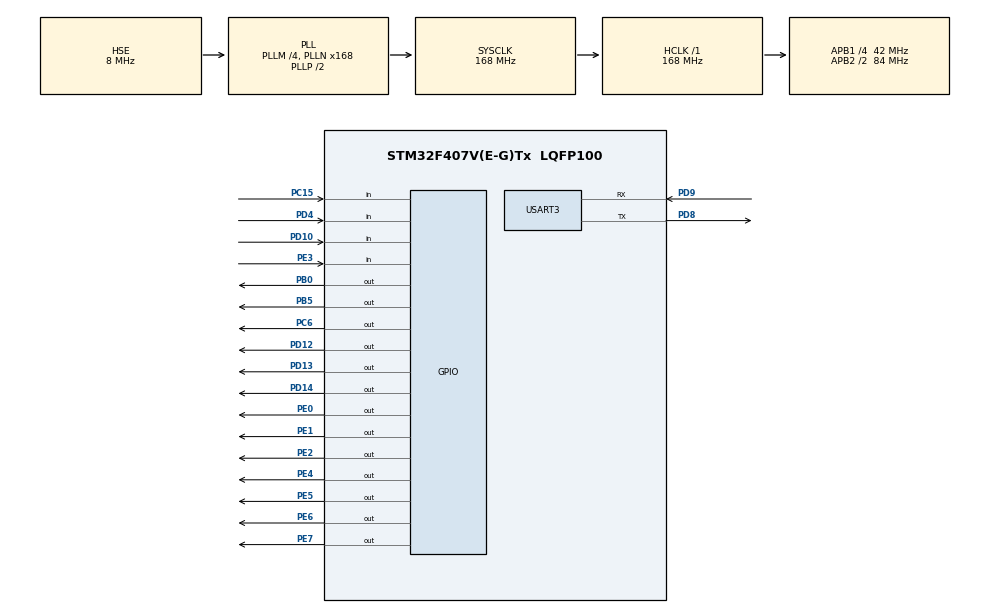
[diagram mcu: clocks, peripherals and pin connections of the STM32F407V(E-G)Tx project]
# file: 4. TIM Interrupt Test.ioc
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Mcu.Family=STM32F4
Mcu.Name=STM32F407V(E-G)Tx
Mcu.Package=LQFP100
NVIC.PriorityGroup=NVIC_PRIORITYGROUP_4
NVIC.TIM7_IRQn=true\:0\:0\:false\:true\:true\:2\:true
NVIC.USART3_IRQn=true\:0\:0\:false\:true\:true\:1\:true
PB0.Signal=GPIO_Output
PB5.Signal=GPIO_Output
PC15-OSC32_OUT.Signal=GPIO_Input
PC6.Signal=GPIO_Output
PD10.Signal=GPIO_Input
PD12.Signal=GPIO_Output
PD13.Signal=GPIO_Output
PD14.Signal=GPIO_Output
PD4.Signal=GPIO_Input
PD8.Mode=Asynchronous
PD8.Signal=USART3_TX
PD9.Mode=Asynchronous
PD9.Signal=USART3_RX
PE0.Signal=GPIO_Output
PE1.Signal=GPIO_Output
PE2.Signal=GPIO_Output
PE3.Signal=GPIO_Input
PE4.Signal=GPIO_Output
PE5.Signal=GPIO_Output
PE6.Signal=GPIO_Output
PE7.Signal=GPIO_Output
PH0-OSC_IN.Mode=HSE-External-Oscillator
PH0-OSC_IN.Signal=RCC_OSC_IN
PH1-OSC_OUT.Mode=HSE-External-Oscillator
PH1-OSC_OUT.Signal=RCC_OSC_OUT
ProjectManager.HeapSize=0x200
ProjectManager.StackSize=0x400
ProjectManager.TargetToolchain=TrueSTUDIO
RCC.48MHZClocksFreq_Value=84000000
RCC.AHBFreq_Value=168000000
RCC.APB1CLKDivider=RCC_HCLK_DIV4
RCC.APB1Freq_Value=42000000
RCC.APB1TimFreq_Value=84000000
RCC.APB2CLKDivider=RCC_HCLK_DIV2
RCC.APB2Freq_Value=84000000
RCC.APB2TimFreq_Value=168000000
RCC.CortexFreq_Value=168000000
RCC.HCLKFreq_Value=168000000
RCC.HSE_VALUE=8000000
RCC.HSI_VALUE=16000000
RCC.LSE_VALUE=32768
RCC.PLLM=4
RCC.PLLN=168
RCC.PLLSourceVirtual=RCC_PLLSOURCE_HSE
RCC.SYSCLKFreq_VALUE=168000000
RCC.SYSCLKSource=RCC_SYSCLKSOURCE_PLLCLK
RCC.VCOOutputFreq_Value=336000000
TIM7.Period=8399
TIM7.Prescaler=9999
USART3.VirtualMode=VM_ASYNC
VP_TIM7_VS_ClockSourceINT.Mode=Enable_Timer
board=custom

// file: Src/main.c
/**
  ******************************************************************************
  * @file           : main.c
  * @brief          : Main program body
  ******************************************************************************
  ** This notice applies to any and all portions of this file
  * that are not between comment pairs USER CODE BEGIN and
  * USER CODE END. Other portions of this file, whether
  * inserted by the user or by software development tools
  * are owned by their respective copyright owners.
  *
  * COPYRIGHT(c) 2018 STMicroelectronics
  *
  * Redistribution and use in source and binary forms, with or without modification,
  * are permitted provided that the following conditions are met:
  *   1. Redistributions of source code must retain the above copyright notice,
  *      this list of conditions and the following disclaimer.
  *   2. Redistributions in binary form must reproduce the above copyright notice,
  *      this list of conditions and the following disclaimer in the documentation
  *      and/or other materials provided with the distribution.
  *   3. Neither the name of STMicroelectronics nor the names of its contributors
  *      may be used to endorse or promote products derived from this software
  *      without specific prior written permission.
  *
  * THIS SOFTWARE IS PROVIDED BY THE COPYRIGHT HOLDERS AND CONTRIBUTORS "AS IS"
  * AND ANY EXPRESS OR IMPLIED WARRANTIES, INCLUDING, BUT NOT LIMITED TO, THE
  * IMPLIED WARRANTIES OF MERCHANTABILITY AND FITNESS FOR A PARTICULAR PURPOSE ARE
  * DISCLAIMED. IN NO EVENT SHALL THE COPYRIGHT HOLDER OR CONTRIBUTORS BE LIABLE
  * FOR ANY DIRECT, INDIRECT, INCIDENTAL, SPECIAL, EXEMPLARY, OR CONSEQUENTIAL
  * DAMAGES (INCLUDING, BUT NOT LIMITED TO, PROCUREMENT OF SUBSTITUTE GOODS OR
  * SERVICES; LOSS OF USE, DATA, OR PROFITS; OR BUSINESS INTERRUPTION) HOWEVER
  * CAUSED AND ON ANY THEORY OF LIABILITY, WHETHER IN CONTRACT, STRICT LIABILITY,
  * OR TORT (INCLUDING NEGLIGENCE OR OTHERWISE) ARISING IN ANY WAY OUT OF THE USE
  * OF THIS SOFTWARE, EVEN IF ADVISED OF THE POSSIBILITY OF SUCH DAMAGE.
  *
  ******************************************************************************
  */
#include "main.h"
#include "stm32f4xx_hal.h"
#include "tim.h"
#include "usart.h"
#include "gpio.h"

/* USER CODE BEGIN Includes */
#include "CLCD.h"
#include <stdio.h>
#include "7SEG.h"
/* USER CODE END Includes */

/* USER CODE BEGIN PV */
/* Private variables ---------------------------------------------------------*/
uint8_t rx3_data;
/* USER CODE END PV */

void SystemClock_Config(void);
static void MX_NVIC_Init(void);

/* USER CODE BEGIN PFP */
/* Private function prototypes -----------------------------------------------*/
int _write(int file, char* p, int len)
{
	HAL_UART_Transmit(&huart3, p, len, 10);
	return len;
}
/* USER CODE END PFP */

int main(void)
{

  /* MCU Configuration----------------------------------------------------------*/

  /* Reset of all peripherals, Initializes the Flash interface and the Systick. */
  HAL_Init();

  /* Configure the system clock */
  SystemClock_Config();

  /* Initialize all configured peripherals */
  MX_GPIO_Init();
  MX_USART3_UART_Init();
  MX_TIM7_Init();

  /* Initialize interrupts */
  MX_NVIC_Init();
  /* USER CODE BEGIN 2 */
	HAL_GPIO_WritePin(GPIOC, GPIO_PIN_6, GPIO_PIN_SET);
	HAL_GPIO_WritePin(GPIOB, GPIO_PIN_0, GPIO_PIN_SET);
	HAL_GPIO_WritePin(GPIOB, GPIO_PIN_5, GPIO_PIN_SET);

	HAL_GPIO_WritePin(GPIOD, GPIO_PIN_12, GPIO_PIN_SET);
	HAL_GPIO_WritePin(GPIOD, GPIO_PIN_13, GPIO_PIN_SET);
	HAL_GPIO_WritePin(GPIOD, GPIO_PIN_14, GPIO_PIN_SET);

	HAL_UART_Receive_IT(&huart3, &rx3_data, 1);
	HAL_TIM_Base_Start_IT(&htim7);

	CLCD_GPIO_Init();
	CLCD_Init();
	CLCD_Puts(0, 0, "Welcome to");
	CLCD_Puts(0, 1, "M-HIVE");
	CLCD_Clear();

	_7SEG_GPIO_Init();
  /* USER CODE END 2 */

  /* Infinite loop */
  /* USER CODE BEGIN WHILE */
	uint8_t a = 0;
	float f = 1.234;
	uint8_t str[20];
  while (1)
  {
  /* USER CODE END WHILE */

  }

}

void SystemClock_Config(void)
{

  RCC_OscInitTypeDef RCC_OscInitStruct;
  RCC_ClkInitTypeDef RCC_ClkInitStruct;

    /**Configure the main internal regulator output voltage
    */
  __HAL_RCC_PWR_CLK_ENABLE();

  __HAL_PWR_VOLTAGESCALING_CONFIG(PWR_REGULATOR_VOLTAGE_SCALE1);

    /**Initializes the CPU, AHB and APB busses clocks
    */
  RCC_OscInitStruct.OscillatorType = RCC_OSCILLATORTYPE_HSE;
  RCC_OscInitStruct.HSEState = RCC_HSE_ON;
  RCC_OscInitStruct.PLL.PLLState = RCC_PLL_ON;
  RCC_OscInitStruct.PLL.PLLSource = RCC_PLLSOURCE_HSE;
  RCC_OscInitStruct.PLL.PLLM = 4;
  RCC_OscInitStruct.PLL.PLLN = 168;
  RCC_OscInitStruct.PLL.PLLP = RCC_PLLP_DIV2;
  RCC_OscInitStruct.PLL.PLLQ = 4;
  if (HAL_RCC_OscConfig(&RCC_OscInitStruct) != HAL_OK)
  {
    _Error_Handler(__FILE__, __LINE__);
  }

    /**Initializes the CPU, AHB and APB busses clocks
    */
  RCC_ClkInitStruct.ClockType = RCC_CLOCKTYPE_HCLK|RCC_CLOCKTYPE_SYSCLK
                              |RCC_CLOCKTYPE_PCLK1|RCC_CLOCKTYPE_PCLK2;
  RCC_ClkInitStruct.SYSCLKSource = RCC_SYSCLKSOURCE_PLLCLK;
  RCC_ClkInitStruct.AHBCLKDivider = RCC_SYSCLK_DIV1;
  RCC_ClkInitStruct.APB1CLKDivider = RCC_HCLK_DIV4;
  RCC_ClkInitStruct.APB2CLKDivider = RCC_HCLK_DIV2;

  if (HAL_RCC_ClockConfig(&RCC_ClkInitStruct, FLASH_LATENCY_5) != HAL_OK)
  {
    _Error_Handler(__FILE__, __LINE__);
  }

    /**Configure the Systick interrupt time
    */
  HAL_SYSTICK_Config(HAL_RCC_GetHCLKFreq()/1000);

    /**Configure the Systick
    */
  HAL_SYSTICK_CLKSourceConfig(SYSTICK_CLKSOURCE_HCLK);

  /* SysTick_IRQn interrupt configuration */
  HAL_NVIC_SetPriority(SysTick_IRQn, 0, 0);
}

/**
  * @brief NVIC Configuration.
  * @retval None
  */
static void MX_NVIC_Init(void)
{
  /* USART3_IRQn interrupt configuration */
  HAL_NVIC_SetPriority(USART3_IRQn, 0, 0);
  HAL_NVIC_EnableIRQ(USART3_IRQn);
  /* TIM7_IRQn interrupt configuration */
  HAL_NVIC_SetPriority(TIM7_IRQn, 0, 0);
  HAL_NVIC_EnableIRQ(TIM7_IRQn);
}

/* USER CODE BEGIN 4 */
void HAL_UART_RxCpltCallback(UART_HandleTypeDef *huart)
{
	if(huart->Instance == USART3)
	{
		HAL_UART_Receive_IT(&huart3, &rx3_data, 1);
		HAL_UART_Transmit(&huart3, &rx3_data, 1, 10);
	}
}

void HAL_TIM_PeriodElapsedCallback(TIM_HandleTypeDef *htim)
{
	static unsigned char cnt = 0;
	if(htim->Instance == TIM7)
	{
		HAL_GPIO_TogglePin(GPIOD, GPIO_PIN_12);
		_7SEG_SetNumber(DGT1, cnt/10, OFF);
		_7SEG_SetNumber(DGT2, cnt%10, ON);
		cnt++;
	}
}
/* USER CODE END 4 */

void _Error_Handler(char *file, int line)
{
  while(1)
  {
  }
}

/************************ (C) COPYRIGHT STMicroelectronics *****END OF FILE****/
